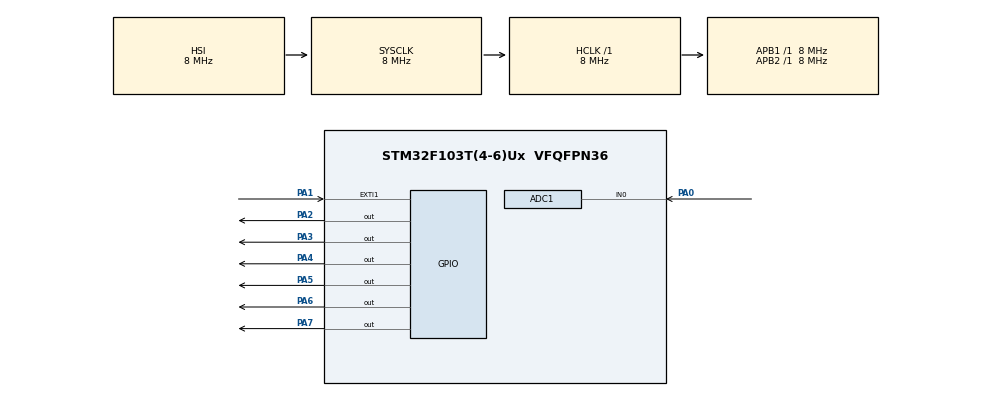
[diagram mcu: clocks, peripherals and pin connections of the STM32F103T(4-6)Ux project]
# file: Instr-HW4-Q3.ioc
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ADC1.Channel-0\#ChannelRegularConversion=ADC_CHANNEL_0
ADC1.NbrOfConversionFlag=1
ADC1.Rank-0\#ChannelRegularConversion=1
ADC1.SamplingTime-0\#ChannelRegularConversion=ADC_SAMPLETIME_1CYCLE_5
ADC1.master=1
Mcu.Family=STM32F1
Mcu.Name=STM32F103T(4-6)Ux
Mcu.Package=VFQFPN36
NVIC.EXTI1_IRQn=true\:0\:0\:false\:false\:true\:true\:true\:true
NVIC.PriorityGroup=NVIC_PRIORITYGROUP_4
PA0-WKUP.Signal=ADCx_IN0
PA1.GPIO_ModeDefaultEXTI=GPIO_MODE_IT_FALLING
PA1.GPIO_PuPd=GPIO_PULLUP
PA1.Signal=GPXTI1
PA2.Signal=GPIO_Output
PA3.Signal=GPIO_Output
PA4.Signal=GPIO_Output
PA5.Signal=GPIO_Output
PA6.Signal=GPIO_Output
PA7.Signal=GPIO_Output
ProjectManager.HeapSize=0x200
ProjectManager.StackSize=0x400
ProjectManager.TargetToolchain=STM32CubeIDE
RCC.AHBFreq_Value=8000000
RCC.APB1Freq_Value=8000000
RCC.APB1TimFreq_Value=8000000
RCC.APB2Freq_Value=8000000
RCC.APB2TimFreq_Value=8000000
RCC.HCLKFreq_Value=8000000
RCC.SYSCLKFreq_VALUE=8000000
RCC.USBFreq_Value=8000000
SH.ADCx_IN0.0=ADC1_IN0,IN0
VP_SYS_VS_ND.Mode=No_Debug
board=custom

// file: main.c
/* USER CODE BEGIN Header */
/**
  ******************************************************************************
  * @file           : main.c
  * @brief          : Main program body
  ******************************************************************************
  * @attention
  *
  * Copyright (c) 2026 STMicroelectronics.
  * All rights reserved.
  *
  * This software is licensed under terms that can be found in the LICENSE file
  * in the root directory of this software component.
  * If no LICENSE file comes with this software, it is provided AS-IS.
  *
  ******************************************************************************
  */
/* USER CODE END Header */
#include "main.h"

/* USER CODE BEGIN Includes */
#include "lcd.h"
#include <stdio.h>
/* USER CODE END Includes */

ADC_HandleTypeDef hadc1;

/* USER CODE BEGIN PV */
Lcd_PortType port[] = {GPIOA, GPIOA, GPIOA, GPIOA};
Lcd_PinType pin[] = {GPIO_PIN_4, GPIO_PIN_5, GPIO_PIN_6, GPIO_PIN_7};
Lcd_PortType rsPort = GPIOA;
Lcd_PinType rsPin = GPIO_PIN_2;
Lcd_PortType ePort = GPIOA;
Lcd_PinType ePin = GPIO_PIN_3;
Lcd_HandleTypeDef lcd;

uint32_t adcValue = 0;
float voltage = 0.0f;
float gross_mass = 0.0f;
float tare_offset = 0.0f;
float net_mass = 0.0f;
char lcd_line1[16];
char lcd_line2[16];
/* USER CODE END PV */

void SystemClock_Config(void);
static void MX_GPIO_Init(void);
static void MX_ADC1_Init(void);
/* USER CODE BEGIN PFP */
void helloWorld();
/* USER CODE END PFP */

int main(void)
{

  /* MCU Configuration--------------------------------------------------------*/

  /* Reset of all peripherals, Initializes the Flash interface and the Systick. */
  HAL_Init();

  /* Configure the system clock */
  SystemClock_Config();

  /* Initialize all configured peripherals */
  MX_GPIO_Init();
  MX_ADC1_Init();
  /* USER CODE BEGIN 2 */
  lcd = Lcd_create(port, pin, rsPort, rsPin, ePort, ePin, LCD_4_BIT_MODE);
  Lcd_init(&lcd);
  /* USER CODE END 2 */

  /* Infinite loop */
  while (1)
  {

    /* USER CODE BEGIN 3 */
	  HAL_ADC_Start(&hadc1);
	  if (HAL_ADC_PollForConversion(&hadc1, 10) == HAL_OK) {
		  adcValue = HAL_ADC_GetValue(&hadc1);
		  voltage = ((float)adcValue * 5.0f) / 4095.0f;
		  gross_mass = voltage / 2.5f;
	  }
	  HAL_ADC_Stop(&hadc1);

	  net_mass = gross_mass - tare_offset;
	  if (net_mass < 0.0f) {
		  net_mass = 0.0f;
	  }

	  sprintf(lcd_line1, "Net: %.2f Kg", net_mass);
	  sprintf(lcd_line2, "Gross: %.2f Kg", gross_mass);

	  Lcd_clear(&lcd);
	  Lcd_cursor(&lcd, 0, 0);
	  Lcd_string(&lcd, lcd_line1);
	  Lcd_cursor(&lcd, 1, 0);
	  Lcd_string(&lcd, lcd_line2);

      HAL_Delay(500);
  }
  /* USER CODE END 3 */
}

void SystemClock_Config(void)
{
  RCC_OscInitTypeDef RCC_OscInitStruct = {0};
  RCC_ClkInitTypeDef RCC_ClkInitStruct = {0};
  RCC_PeriphCLKInitTypeDef PeriphClkInit = {0};

  /** Initializes the RCC Oscillators according to the specified parameters
  * in the RCC_OscInitTypeDef structure.
  */
  RCC_OscInitStruct.OscillatorType = RCC_OSCILLATORTYPE_HSI;
  RCC_OscInitStruct.HSIState = RCC_HSI_ON;
  RCC_OscInitStruct.HSICalibrationValue = RCC_HSICALIBRATION_DEFAULT;
  RCC_OscInitStruct.PLL.PLLState = RCC_PLL_NONE;
  if (HAL_RCC_OscConfig(&RCC_OscInitStruct) != HAL_OK)
  {
    Error_Handler();
  }

  /** Initializes the CPU, AHB and APB buses clocks
  */
  RCC_ClkInitStruct.ClockType = RCC_CLOCKTYPE_HCLK|RCC_CLOCKTYPE_SYSCLK
                              |RCC_CLOCKTYPE_PCLK1|RCC_CLOCKTYPE_PCLK2;
  RCC_ClkInitStruct.SYSCLKSource = RCC_SYSCLKSOURCE_HSI;
  RCC_ClkInitStruct.AHBCLKDivider = RCC_SYSCLK_DIV1;
  RCC_ClkInitStruct.APB1CLKDivider = RCC_HCLK_DIV1;
  RCC_ClkInitStruct.APB2CLKDivider = RCC_HCLK_DIV1;

  if (HAL_RCC_ClockConfig(&RCC_ClkInitStruct, FLASH_LATENCY_0) != HAL_OK)
  {
    Error_Handler();
  }
  PeriphClkInit.PeriphClockSelection = RCC_PERIPHCLK_ADC;
  PeriphClkInit.AdcClockSelection = RCC_ADCPCLK2_DIV2;
  if (HAL_RCCEx_PeriphCLKConfig(&PeriphClkInit) != HAL_OK)
  {
    Error_Handler();
  }
}

static void MX_ADC1_Init(void)
{

  ADC_ChannelConfTypeDef sConfig = {0};

  /** Common config
  */
  hadc1.Instance = ADC1;
  hadc1.Init.ScanConvMode = ADC_SCAN_DISABLE;
  hadc1.Init.ContinuousConvMode = DISABLE;
  hadc1.Init.DiscontinuousConvMode = DISABLE;
  hadc1.Init.ExternalTrigConv = ADC_SOFTWARE_START;
  hadc1.Init.DataAlign = ADC_DATAALIGN_RIGHT;
  hadc1.Init.NbrOfConversion = 1;
  if (HAL_ADC_Init(&hadc1) != HAL_OK)
  {
    Error_Handler();
  }

  /** Configure Regular Channel
  */
  sConfig.Channel = ADC_CHANNEL_0;
  sConfig.Rank = ADC_REGULAR_RANK_1;
  sConfig.SamplingTime = ADC_SAMPLETIME_1CYCLE_5;
  if (HAL_ADC_ConfigChannel(&hadc1, &sConfig) != HAL_OK)
  {
    Error_Handler();
  }

}

static void MX_GPIO_Init(void)
{
  GPIO_InitTypeDef GPIO_InitStruct = {0};

  /* GPIO Ports Clock Enable */
  __HAL_RCC_GPIOA_CLK_ENABLE();

  /*Configure GPIO pin Output Level */
  HAL_GPIO_WritePin(GPIOA, GPIO_PIN_2|GPIO_PIN_3|GPIO_PIN_4|GPIO_PIN_5
                          |GPIO_PIN_6|GPIO_PIN_7, GPIO_PIN_RESET);

  /*Configure GPIO pin : PA1 */
  GPIO_InitStruct.Pin = GPIO_PIN_1;
  GPIO_InitStruct.Mode = GPIO_MODE_IT_FALLING;
  GPIO_InitStruct.Pull = GPIO_PULLUP;
  HAL_GPIO_Init(GPIOA, &GPIO_InitStruct);

  /*Configure GPIO pins : PA2 PA3 PA4 PA5
                           PA6 PA7 */
  GPIO_InitStruct.Pin = GPIO_PIN_2|GPIO_PIN_3|GPIO_PIN_4|GPIO_PIN_5
                          |GPIO_PIN_6|GPIO_PIN_7;
  GPIO_InitStruct.Mode = GPIO_MODE_OUTPUT_PP;
  GPIO_InitStruct.Pull = GPIO_NOPULL;
  GPIO_InitStruct.Speed = GPIO_SPEED_FREQ_LOW;
  HAL_GPIO_Init(GPIOA, &GPIO_InitStruct);

  /* EXTI interrupt init*/
  HAL_NVIC_SetPriority(EXTI1_IRQn, 0, 0);
  HAL_NVIC_EnableIRQ(EXTI1_IRQn);

}

/* USER CODE BEGIN 4 */
void helloWorld() {
	Lcd_cursor(&lcd, 0, 0);
	Lcd_string(&lcd, "Hello");

	Lcd_cursor(&lcd, 1, 0);
	char numberString[20];
	sprintf(numberString, "%d", 5);
	Lcd_string(&lcd, numberString);
}
void HAL_GPIO_EXTI_Callback(uint16_t GPIO_Pin)
{
    if(GPIO_Pin == GPIO_PIN_1) {
        tare_offset = gross_mass;
    }
}
/* USER CODE END 4 */

void Error_Handler(void)
{
  __disable_irq();
  while (1)
  {
  }
}
